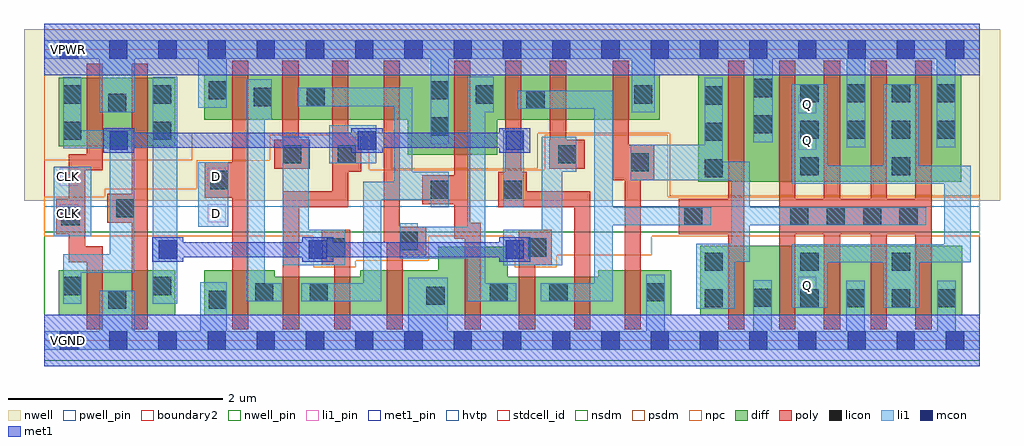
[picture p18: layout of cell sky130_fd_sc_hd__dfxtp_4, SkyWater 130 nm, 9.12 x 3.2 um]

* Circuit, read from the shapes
.subckt sky130_fd_sc_hd__dfxtp_4 CLK D Q VGND VNB VPB VPWR
XM1 VGND CLK n1 VNB sky130_fd_pr__nfet_01v8 w=0.42 l=0.15
XM2 n2 n1 VGND VNB sky130_fd_pr__nfet_01v8 w=0.42 l=0.15
XM3 n3 D VGND VNB sky130_fd_pr__nfet_01v8 w=0.42 l=0.15
XM4 n4 n1 n3 VNB sky130_fd_pr__nfet_01v8 w=0.36 l=0.15
XM5 n5 n2 n4 VNB sky130_fd_pr__nfet_01v8 w=0.36 l=0.15
XM6 VGND n6 n5 VNB sky130_fd_pr__nfet_01v8 w=0.42 l=0.15
XM7 n6 n4 VGND VNB sky130_fd_pr__nfet_01v8 w=0.64 l=0.15
XM8 n7 n2 n6 VNB sky130_fd_pr__nfet_01v8 w=0.36 l=0.15
XM9 n8 n1 n7 VNB sky130_fd_pr__nfet_01v8 w=0.36 l=0.15
XM10 VGND n9 n8 VNB sky130_fd_pr__nfet_01v8 w=0.42 l=0.15
XM11 VGND n7 n9 VNB sky130_fd_pr__nfet_01v8 w=0.65 l=0.15
XM12 Q n9 VGND VNB sky130_fd_pr__nfet_01v8 w=0.65 l=0.15 m=4
XM13 VPWR CLK n1 VPB sky130_fd_pr__pfet_01v8_hvt w=0.64 l=0.15
XM14 n2 n1 VPWR VPB sky130_fd_pr__pfet_01v8_hvt w=0.64 l=0.15
XM15 n3 D VPWR VPB sky130_fd_pr__pfet_01v8_hvt w=0.42 l=0.15
XM16 n4 n2 n3 VPB sky130_fd_pr__pfet_01v8_hvt w=0.42 l=0.15
XM17 n10 n1 n4 VPB sky130_fd_pr__pfet_01v8_hvt w=0.42 l=0.15
XM18 VPWR n6 n10 VPB sky130_fd_pr__pfet_01v8_hvt w=0.42 l=0.15
XM19 n6 n4 VPWR VPB sky130_fd_pr__pfet_01v8_hvt w=0.75 l=0.15
XM20 n7 n1 n6 VPB sky130_fd_pr__pfet_01v8_hvt w=0.42 l=0.15
XM21 n11 n2 n7 VPB sky130_fd_pr__pfet_01v8_hvt w=0.42 l=0.15
XM22 VPWR n9 n11 VPB sky130_fd_pr__pfet_01v8_hvt w=0.42 l=0.15
XM23 VPWR n7 n9 VPB sky130_fd_pr__pfet_01v8_hvt w=1 l=0.15
XM24 Q n9 VPWR VPB sky130_fd_pr__pfet_01v8_hvt w=1 l=0.15 m=4
.ends

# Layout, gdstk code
import gdstk
lib = gdstk.Library(unit=1e-6, precision=1e-09)
def R(c, l, rs):  # rectangles x0, y0, x1, y1
    for r in rs: c.add(gdstk.rectangle(r[:2], r[2:], *l))
def A(c, l, x, y, w, h, nx, ny, dx, dy):  # array of equal rectangles
    R(c, l, [(x+i*dx, y+j*dy, x+i*dx+w, y+j*dy+h) for i in range(nx) for j in range(ny)])
def P(c, l, *ps):  # polygons
    for p in ps: c.add(gdstk.Polygon(p, *l))
nwell_pin = (64, 16)
nwell = (64, 20)
diff = (65, 20)
poly = (66, 20)
licon = (66, 44)
li1_pin = (67, 16)
li1 = (67, 20)
mcon = (67, 44)
met1_pin = (68, 16)
met1 = (68, 20)
hvtp = (78, 44)
stdcell_id = (81, 4)
nsdm = (93, 44)
psdm = (94, 20)
npc = (95, 20)
pwell_pin = (122, 16)
boundary2 = (236, 0)

sky130_fd_sc_hd__dfxtp_4 = lib.new_cell('sky130_fd_sc_hd__dfxtp_4')
R(sky130_fd_sc_hd__dfxtp_4, nwell_pin, [(0.145,2.635,0.315,2.805), (0.145,2.635,0.315,2.805)])
R(sky130_fd_sc_hd__dfxtp_4, nwell, [(-0.19,1.305,8.93,2.91)])
R(sky130_fd_sc_hd__dfxtp_4, diff, [(0.135,0.235,1.225,0.655), (6.13,0.235,8.575,0.885), (6.11,1.485,8.57,2.485), (0.135,1.815,1.225,2.455)])
P(sky130_fd_sc_hd__dfxtp_4, diff, [(5.86,0.655),(5.175,0.655),(5.175,0.595),(4.33,0.595),(4.33,0.875),(3.68,0.875),(3.68,0.655),(2.95,0.655),(2.95,0.595),(2.155,0.595),(2.155,0.655),(1.495,0.655),(1.495,0.235),(5.86,0.235)],
  [(5.75,2.485),(1.495,2.485),(1.495,2.065),(3.395,2.065),(3.395,1.735),(4.23,1.735),(4.23,2.065),(5.75,2.065)])
P(sky130_fd_sc_hd__dfxtp_4, poly, [(5.7,1.83),(5.46,1.83),(5.46,2.615),(5.31,2.615),(5.31,1.5),(5.425,1.5),(5.425,0.105),(5.575,0.105),(5.575,1.5),(5.7,1.5)],
  [(5.1,1.395),(4.51,1.395),(4.51,1.575),(4.455,1.575),(4.455,2.615),(4.305,2.615),(4.305,1.575),(4.24,1.575),(4.24,1.245),(4.95,1.245),(4.95,0.105),(5.1,0.105)],
  [(5.05,1.875),(4.875,1.875),(4.875,2.615),(4.725,2.615),(4.725,1.875),(4.72,1.875),(4.72,1.605),(5.05,1.605)],
  [(4.74,1.035),(4.435,1.035),(4.435,0.105),(4.585,0.105),(4.585,0.705),(4.74,0.705)],
  [(4.08,1.1),(3.98,1.1),(3.98,2.615),(3.83,2.615),(3.83,1.545),(3.53,1.545),(3.53,1.275),(3.83,1.275),(3.83,0.95),(3.93,0.95),(3.93,0.105),(4.08,0.105)],
  [(3.57,1.065),(3.32,1.065),(3.32,2.615),(3.17,2.615),(3.17,0.915),(3.2,0.915),(3.2,0.105),(3.35,0.105),(3.35,0.795),(3.57,0.795)],
  [(2.96,1.905),(2.84,1.905),(2.84,2.615),(2.69,2.615),(2.69,1.395),(2.23,1.395),(2.23,0.105),(2.38,0.105),(2.38,1.245),(2.84,1.245),(2.84,1.575),(2.96,1.575)],
  [(2.86,1.035),(2.59,1.035),(2.59,0.705),(2.71,0.705),(2.71,0.105),(2.86,0.105)],
  [(2.48,1.875),(2.375,1.875),(2.375,2.615),(2.225,2.615),(2.225,1.875),(2.15,1.875),(2.15,1.605),(2.48,1.605)],
  [(1.905,2.615),(1.755,2.615),(1.755,1.665),(1.5,1.665),(1.5,1.335),(1.755,1.335),(1.755,0.105),(1.905,0.105)],
  [(0.965,2.585),(0.815,2.585),(0.815,1.37),(0.59,1.37),(0.59,1.1),(0.815,1.1),(0.815,0.105),(0.965,0.105)],
  [(8.29,2.615),(8.14,2.615),(8.14,1.325),(7.87,1.325),(7.87,2.615),(7.72,2.615),(7.72,1.325),(7.435,1.325),(7.435,2.615),(7.285,2.615),(7.285,1.325),(7.015,1.325),(7.015,2.615),(6.865,2.615),(6.865,0.105),(7.015,0.105),(7.015,0.995),(7.285,0.995),(7.285,0.105),(7.435,0.105),(7.435,0.995),(7.72,0.995),(7.72,0.105),(7.87,0.105),(7.87,0.995),(8.14,0.995),(8.14,0.105),(8.29,0.105)],
  [(6.54,2.615),(6.39,2.615),(6.39,1.325),(5.93,1.325),(5.93,0.995),(6.39,0.995),(6.39,0.105),(6.54,0.105)],
  [(0.545,0.88),(0.38,0.88),(0.38,1.59),(0.545,1.59),(0.545,2.585),(0.395,2.585),(0.395,1.74),(0.23,1.74),(0.23,1.325),(0.11,1.325),(0.11,0.995),(0.23,0.995),(0.23,0.73),(0.395,0.73),(0.395,0.105),(0.545,0.105)])
A(sky130_fd_sc_hd__dfxtp_4, licon, 7.495, 0.31, 0.17, 0.17, 3, 1, 0.425, 0)
A(sky130_fd_sc_hd__dfxtp_4, licon, 6.97, 1.075, 0.17, 0.17, 4, 1, 0.34, 0)
A(sky130_fd_sc_hd__dfxtp_4, licon, 6.17, 1.525, 0.17, 0.17, 1, 3, 0, 0.34)
A(sky130_fd_sc_hd__dfxtp_4, licon, 7.065, 1.545, 0.17, 0.17, 1, 3, 0, 0.34)
A(sky130_fd_sc_hd__dfxtp_4, licon, 7.5, 1.885, 0.17, 0.17, 3, 2, 0.42, 0.34)
R(sky130_fd_sc_hd__dfxtp_4, licon, [(0.595,0.295,0.765,0.465), (1.535,0.295,1.705,0.465), (6.17,0.31,6.34,0.48), (7.065,0.31,7.235,0.48), (6.625,0.315,6.795,0.485), (3.57,0.335,3.74,0.505), (1.97,0.365,2.14,0.535), (2.48,0.365,2.65,0.535), (4.16,0.365,4.33,0.535), (4.72,0.365,4.89,0.535), (5.625,0.365,5.795,0.535), (0.175,0.425,0.345,0.595), (1.015,0.425,1.185,0.595), (6.17,0.65,6.34,0.82), (7.065,0.65,7.235,0.82), (7.92,0.65,8.09,0.82), (2.64,0.785,2.81,0.955), (4.52,0.785,4.69,0.955), (3.32,0.845,3.49,1.015), (0.16,1.075,0.33,1.245), (5.98,1.075,6.15,1.245), (0.67,1.15,0.84,1.32), (3.61,1.325,3.78,1.495), (4.29,1.325,4.46,1.495), (1.55,1.415,1.72,1.585), (7.92,1.545,8.09,1.715), (5.48,1.58,5.65,1.75), (2.23,1.655,2.4,1.825), (2.74,1.655,2.91,1.825), (4.8,1.655,4.97,1.825), (0.175,1.875,0.345,2.045), (1.015,1.875,1.185,2.045), (3.61,1.915,3.78,2.085), (6.625,1.935,6.795,2.105), (0.595,2.135,0.765,2.305), (4.505,2.165,4.675,2.335), (1.955,2.19,2.125,2.36), (2.45,2.19,2.62,2.36), (0.175,2.215,0.345,2.385), (1.015,2.215,1.185,2.385), (4.03,2.215,4.2,2.385), (5.51,2.215,5.68,2.385), (1.535,2.255,1.705,2.425), (3.61,2.255,3.78,2.425), (6.625,2.275,6.795,2.445)])
R(sky130_fd_sc_hd__dfxtp_4, li1_pin, [(7.045,0.425,7.215,0.595), (0.145,1.105,0.315,1.275), (1.525,1.105,1.695,1.275), (0.145,1.445,0.315,1.615), (1.525,1.445,1.695,1.615), (7.045,1.785,7.215,1.955), (7.045,2.125,7.215,2.295)])
R(sky130_fd_sc_hd__dfxtp_4, li1, [(1.015,0.345,1.24,2.465), (0.09,0.975,0.44,1.625), (1.44,1.065,1.72,1.665), (4.29,1.245,4.48,1.965), (2.66,1.655,3.1,2.01)])
P(sky130_fd_sc_hd__dfxtp_4, li1, [(6.23,1.245),(5.31,1.245),(5.31,2.335),(4.425,2.335),(4.425,2.165),(5.14,2.165),(5.14,0.535),(4.64,0.535),(4.64,0.365),(5.31,0.365),(5.31,1.075),(6.23,1.075)],
  [(4.97,1.905),(4.65,1.905),(4.65,1.035),(4.29,1.035),(4.29,0.705),(4.84,0.705),(4.84,1.575),(4.97,1.575)],
  [(4.41,0.535),(4.12,0.535),(4.12,2.135),(4.2,2.135),(4.2,2.465),(3.95,2.465),(3.95,1.065),(3.49,1.065),(3.49,1.095),(3.32,1.095),(3.32,0.765),(3.95,0.765),(3.95,0.365),(4.41,0.365)],
  [(3.78,1.575),(3.44,1.575),(3.44,2.36),(2.37,2.36),(2.37,2.19),(3.27,2.19),(3.27,1.485),(2.98,1.485),(2.98,0.535),(2.4,0.535),(2.4,0.365),(3.15,0.365),(3.15,1.315),(3.61,1.315),(3.61,1.245),(3.78,1.245)],
  [(8.24,1.245),(6.59,1.245),(6.59,1.67),(6.34,1.67),(6.34,2.455),(6.17,2.455),(6.17,1.83),(5.48,1.83),(5.48,1.5),(6.42,1.5),(6.42,0.905),(6.09,0.905),(6.09,0.295),(6.45,0.295),(6.45,0.735),(6.59,0.735),(6.59,1.075),(8.24,1.075)],
  [(2.81,1.035),(2.47,1.035),(2.47,1.905),(2.23,1.905),(2.23,0.705),(2.81,0.705)],
  [(2.22,0.535),(2.06,0.535),(2.06,2.065),(2.125,2.065),(2.125,2.44),(1.89,2.44),(1.89,0.365),(2.22,0.365)],
  [(0.84,1.965),(0.345,1.965),(0.345,2.465),(0.175,2.465),(0.175,1.795),(0.61,1.795),(0.61,0.805),(0.175,0.805),(0.175,0.345),(0.345,0.345),(0.345,0.635),(0.84,0.635)],
  [(8.655,1.635),(8.17,1.635),(8.17,2.395),(7.84,2.395),(7.84,1.635),(7.32,1.635),(7.32,2.395),(6.985,2.395),(6.985,1.465),(8.41,1.465),(8.41,0.9),(6.985,0.9),(6.985,0.305),(7.32,0.305),(7.32,0.73),(7.84,0.73),(7.84,0.305),(8.175,0.305),(8.175,0.73),(8.655,0.73)],
  [(8.74,0.085),(8.515,0.085),(8.515,0.56),(8.345,0.56),(8.345,0.085),(7.665,0.085),(7.665,0.56),(7.495,0.56),(7.495,0.085),(6.795,0.085),(6.795,0.565),(6.625,0.565),(6.625,0.085),(5.795,0.085),(5.795,0.615),(5.625,0.615),(5.625,0.085),(3.77,0.085),(3.77,0.585),(3.4,0.585),(3.4,0.085),(1.705,0.085),(1.705,0.545),(1.455,0.545),(1.455,0.085),(0.845,0.085),(0.845,0.465),(0.515,0.465),(0.515,0.085),(0,0.085),(0,-0.085),(8.74,-0.085)],
  [(8.74,2.805),(0,2.805),(0,2.635),(0.515,2.635),(0.515,2.135),(0.845,2.135),(0.845,2.635),(1.44,2.635),(1.44,2.175),(1.705,2.175),(1.705,2.635),(3.61,2.635),(3.61,1.835),(3.78,1.835),(3.78,2.635),(5.49,2.635),(5.49,2.135),(5.705,2.135),(5.705,2.635),(6.625,2.635),(6.625,1.855),(6.805,1.855),(6.805,2.635),(7.5,2.635),(7.5,1.805),(7.67,1.805),(7.67,2.635),(8.34,2.635),(8.34,1.805),(8.51,1.805),(8.51,2.635),(8.74,2.635)])
A(sky130_fd_sc_hd__dfxtp_4, mcon, 0.145, -0.085, 0.17, 0.17, 19, 2, 0.46, 2.72)
R(sky130_fd_sc_hd__dfxtp_4, mcon, [(1.07,0.765,1.24,0.935), (2.47,0.765,2.64,0.935), (4.31,0.765,4.48,0.935), (0.61,1.785,0.78,1.955), (2.93,1.785,3.1,1.955), (4.31,1.785,4.48,1.955)])
R(sky130_fd_sc_hd__dfxtp_4, met1_pin, [(0.145,-0.085,0.315,0.085), (0.145,2.635,0.315,2.805)])
R(sky130_fd_sc_hd__dfxtp_4, met1, [(0,2.48,8.74,2.96)])
P(sky130_fd_sc_hd__dfxtp_4, met1, [(4.54,0.965),(4.25,0.965),(4.25,0.92),(2.7,0.92),(2.7,0.965),(2.41,0.965),(2.41,0.92),(1.3,0.92),(1.3,0.965),(1.01,0.965),(1.01,0.735),(1.3,0.735),(1.3,0.78),(2.41,0.78),(2.41,0.735),(2.7,0.735),(2.7,0.78),(4.25,0.78),(4.25,0.735),(4.54,0.735)],
  [(4.54,1.985),(4.25,1.985),(4.25,1.94),(3.16,1.94),(3.16,1.985),(2.87,1.985),(2.87,1.94),(0.84,1.94),(0.84,1.985),(0.55,1.985),(0.55,1.755),(0.84,1.755),(0.84,1.8),(2.87,1.8),(2.87,1.755),(3.16,1.755),(3.16,1.8),(4.25,1.8),(4.25,1.755),(4.54,1.755)])
R(sky130_fd_sc_hd__dfxtp_4, hvtp, [(0,1.25,8.74,2.72)])
R(sky130_fd_sc_hd__dfxtp_4, stdcell_id, [(0,0,8.74,2.72)])
R(sky130_fd_sc_hd__dfxtp_4, nsdm, [(0,-0.19,8.74,1.015)])
P(sky130_fd_sc_hd__dfxtp_4, psdm, [(8.74,2.91),(0,2.91),(0,1.685),(1.38,1.685),(1.38,1.935),(3.24,1.935),(3.24,1.605),(4.61,1.605),(4.61,1.935),(5.845,1.935),(5.845,1.355),(8.74,1.355)])
P(sky130_fd_sc_hd__dfxtp_4, npc, [(8.74,1.345),(5.825,1.345),(5.825,1.925),(4.675,1.925),(4.675,1.595),(3.035,1.595),(3.035,1.925),(2.105,1.925),(2.105,1.685),(1.425,1.685),(1.425,1.42),(0.565,1.42),(0.565,1.345),(0,1.345),(0,0.975),(2.515,0.975),(2.515,0.685),(2.91,0.685),(2.91,0.745),(3.59,0.745),(3.59,0.975),(4.395,0.975),(4.395,0.685),(4.79,0.685),(4.79,0.795),(5.675,0.795),(5.675,0.975),(8.74,0.975)])
R(sky130_fd_sc_hd__dfxtp_4, pwell_pin, [(0.145,-0.085,0.315,0.085), (0.145,-0.085,0.315,0.085)])
R(sky130_fd_sc_hd__dfxtp_4, boundary2, [(0,0,8.74,2.72)])
sky130_fd_sc_hd__dfxtp_4.add(gdstk.FlexPath([(0,0),(8.74,0)], 0.48, ends="flush", simple_path=True, layer=68, datatype=20))  # met1
sky130_fd_sc_hd__dfxtp_4.add(gdstk.Label('VGND', (0.23,0), layer=68, texttype=5))
sky130_fd_sc_hd__dfxtp_4.add(gdstk.Label('VPWR', (0.23,2.72), layer=68, texttype=5))
sky130_fd_sc_hd__dfxtp_4.add(gdstk.Label('D', (1.61,1.19), layer=67, texttype=5))
sky130_fd_sc_hd__dfxtp_4.add(gdstk.Label('CLK', (0.23,1.53), layer=67, texttype=5))
sky130_fd_sc_hd__dfxtp_4.add(gdstk.Label('CLK', (0.23,1.19), layer=67, texttype=5))
sky130_fd_sc_hd__dfxtp_4.add(gdstk.Label('Q', (7.13,0.51), layer=67, texttype=5))
sky130_fd_sc_hd__dfxtp_4.add(gdstk.Label('Q', (7.13,1.87), layer=67, texttype=5))
sky130_fd_sc_hd__dfxtp_4.add(gdstk.Label('Q', (7.13,2.21), layer=67, texttype=5))
sky130_fd_sc_hd__dfxtp_4.add(gdstk.Label('D', (1.61,1.53), layer=67, texttype=5))
sky130_fd_sc_hd__dfxtp_4.add(gdstk.Label('VNB', (0.23,0), layer=64, texttype=59))
sky130_fd_sc_hd__dfxtp_4.add(gdstk.Label('VNB', (0.23,0), layer=64, texttype=59))
sky130_fd_sc_hd__dfxtp_4.add(gdstk.Label('VPB', (0.23,2.72), layer=64, texttype=5))
sky130_fd_sc_hd__dfxtp_4.add(gdstk.Label('VPB', (0.23,2.72), layer=64, texttype=5))
sky130_fd_sc_hd__dfxtp_4.add(gdstk.Label('dfxtp_4', (0,0), layer=83, texttype=44))

lib.write_gds('sky130_fd_sc_hd__dfxtp_4.gds')
